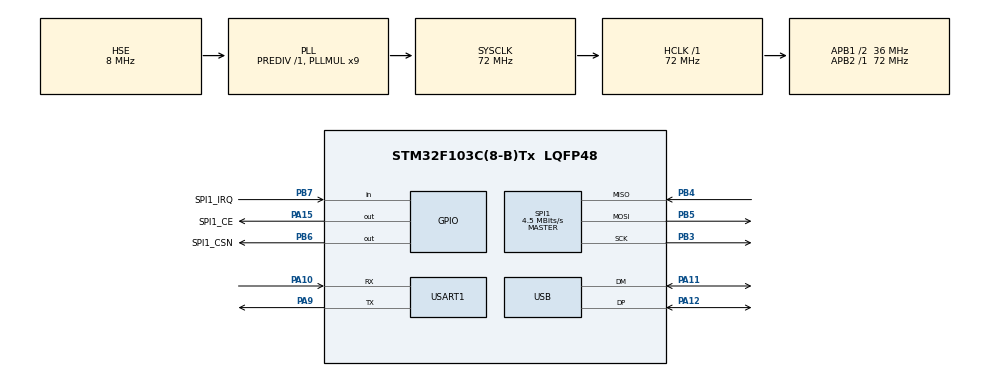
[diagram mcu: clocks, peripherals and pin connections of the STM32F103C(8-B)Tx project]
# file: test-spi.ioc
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Mcu.Family=STM32F1
Mcu.Name=STM32F103C(8-B)Tx
Mcu.Package=LQFP48
NVIC.PriorityGroup=NVIC_PRIORITYGROUP_4
NVIC.USB_LP_CAN1_RX0_IRQn=true\:0\:0\:false\:false\:true\:false\:true
PA10.Mode=Asynchronous
PA10.Signal=USART1_RX
PA11.Mode=Device
PA11.Signal=USB_DM
PA12.Mode=Device
PA12.Signal=USB_DP
PA13.Mode=Serial_Wire
PA13.Signal=SYS_JTMS-SWDIO
PA14.Mode=Serial_Wire
PA14.Signal=SYS_JTCK-SWCLK
PA15.GPIO_Label=SPI1_CE
PA15.GPIO_PuPd=GPIO_PULLUP
PA15.GPIO_Speed=GPIO_SPEED_FREQ_HIGH
PA15.Signal=GPIO_Output
PA9.Mode=Asynchronous
PA9.Signal=USART1_TX
PB3.Mode=Full_Duplex_Master
PB3.Signal=SPI1_SCK
PB4.Mode=Full_Duplex_Master
PB4.Signal=SPI1_MISO
PB5.Mode=Full_Duplex_Master
PB5.Signal=SPI1_MOSI
PB6.GPIO_Label=SPI1_CSN
PB6.GPIO_PuPd=GPIO_PULLUP
PB6.GPIO_Speed=GPIO_SPEED_FREQ_HIGH
PB6.Signal=GPIO_Output
PB7.GPIO_Label=SPI1_IRQ
PB7.GPIO_PuPd=GPIO_PULLUP
PB7.Signal=GPIO_Input
PD0-OSC_IN.Mode=HSE-External-Oscillator
PD0-OSC_IN.Signal=RCC_OSC_IN
PD1-OSC_OUT.Mode=HSE-External-Oscillator
PD1-OSC_OUT.Signal=RCC_OSC_OUT
ProjectManager.HeapSize=0x400
ProjectManager.StackSize=0x400
ProjectManager.TargetToolchain=MDK-ARM V5.27
RCC.ADCPresc=RCC_ADCPCLK2_DIV6
RCC.AHBFreq_Value=72000000
RCC.APB1CLKDivider=RCC_HCLK_DIV2
RCC.APB1Freq_Value=36000000
RCC.APB1TimFreq_Value=72000000
RCC.APB2Freq_Value=72000000
RCC.APB2TimFreq_Value=72000000
RCC.HCLKFreq_Value=72000000
RCC.PLLMUL=RCC_PLL_MUL9
RCC.PLLSourceVirtual=RCC_PLLSOURCE_HSE
RCC.SYSCLKFreq_VALUE=72000000
RCC.SYSCLKSource=RCC_SYSCLKSOURCE_PLLCLK
RCC.USBFreq_Value=48000000
RCC.USBPrescaler=RCC_USBCLKSOURCE_PLL_DIV1_5
SPI1.BaudRatePrescaler=SPI_BAUDRATEPRESCALER_16
SPI1.CRCCalculation=SPI_CRCCALCULATION_DISABLE
SPI1.CalculateBaudRate=4.5 MBits/s
SPI1.Direction=SPI_DIRECTION_2LINES
SPI1.Mode=SPI_MODE_MASTER
SPI1.VirtualType=VM_MASTER
USART1.VirtualMode=VM_ASYNC
USB_DEVICE.CLASS_NAME_FS=CDC
USB_DEVICE.VirtualMode=Cdc
USB_DEVICE.VirtualModeFS=Cdc_FS
VP_USB_DEVICE_VS_USB_DEVICE_CDC_FS.Mode=CDC_FS
board=custom

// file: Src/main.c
/* USER CODE BEGIN Header */
/**
  ******************************************************************************
  * @file           : main.c
  * @brief          : Main program body
  ******************************************************************************
  * @attention
  *
  * <h2><center>&copy; Copyright (c) 2020 STMicroelectronics.
  * All rights reserved.</center></h2>
  *
  * This software component is licensed by ST under BSD 3-Clause license,
  * the "License"; You may not use this file except in compliance with the
  * License. You may obtain a copy of the License at:
  *                        opensource.org/licenses/BSD-3-Clause
  *
  ******************************************************************************
  */
/* USER CODE END Header */
#include "main.h"
#include "spi.h"
#include "usart.h"
#include "usb_device.h"
#include "gpio.h"

/* USER CODE BEGIN Includes */
//用户头文件
#include "sys.h"
#include "delay.h"
#include "24l01.h"
#include "stdio.h"
#include "usbd_cdc_if.h"
/* USER CODE END Includes */

/* USER CODE BEGIN PTD */
//私有类型定义

/* USER CODE END PTD */

/* USER CODE BEGIN PD */
//私有定义

#define a ox1;
/* USER CODE END PD */

/* USER CODE BEGIN PM */
//私有宏

/* USER CODE END PM */

/* USER CODE BEGIN PV */
//私有变量
u8 tmp_buf[30]= {0x01,0x02,0x03,0x04,0x05,0x06,0x07,0x08,0x09,0x10,0x11,0x12,0x13,0x14,0x15,0x16,0x17,0x18,0x19,0x20,0x21,0x22,0x23,0x24,0x25,0x26,0x27,0x28,0x29,0x30};
u8 rv_data[32];
u8 mode=1;//发送模式还是接收模式选择 0发送模式 1接收模式
u8 status_tx=0;
u8 status_rx=0;
/* USER CODE END PV */

void SystemClock_Config(void);
/* USER CODE BEGIN PFP */
//私有函数原型

/* USER CODE END PFP */

int main(void)
{

  /* MCU Configuration--------------------------------------------------------*/

  /* Reset of all peripherals, Initializes the Flash interface and the Systick. */
  HAL_Init();

  /* Configure the system clock */
  SystemClock_Config();

  /* USER CODE BEGIN SysInit */
    USB_ReEnum(); // Toggle the level of GpIO_A_12 to avoid extract-plug action
    uint8_t temp[1]= {0x11};
    HAL_UART_Transmit(&huart1,temp,1,2);
  /* USER CODE END SysInit */

  /* Initialize all configured peripherals */
  MX_GPIO_Init();
  MX_SPI1_Init();
  MX_USART1_UART_Init();
  MX_USB_DEVICE_Init();
  /* USER CODE BEGIN 2 */
    NRF24L01_Init();  //初始化NRF24L01
    while(NRF24L01_Check())//函数返回值为1说明检测24L01错误
    {
        printf("\n\r nrf测试失败 nrf未连接\n\r");
			break;
    }

    while(NRF24L01_Check()==0)//之前是while
    {
        //printf("\n\r nrf测试成功 nrf连接\n\r");
        //Rx接收模式
        if(mode==1)
        {
            int k=0;
            int Rec_Length=0;
            //printf("\n\r 接收模式\n\r");
            NRF24L01_RX_Mode();
			SPI1_SetSpeed(SPI_BAUDRATEPRESCALER_16);//该语句在例程中是在RxPacket函数中，每次循环都需要执行一次。现放在这里。只初始化，不循环
            while(1)
            {
							//接收数组是UserTxBufferFS，这里使用的是指针；*UserTxBufferFS指的是数组的首地址
							//接收函数的返回值：0——接收完成；其他-存在错误；
                status_rx  = NRF24L01_RxPacket((uint8_t *)(UserTxBufferFS)+Rec_Length);

//				status_rx  = NRF24L01_RxPacket(rv_data);//一次传输32个字节。接收的数据保存在rv_data数组中。返回值0为接收成功
//				HAL_Delay (1);

				/*if(status_rx==0)
				{
					Rec_Length+=20;
					if(Rec_Length>=18)//UserTxBufferFS数组是1000个元素
					{
						CDC_Transmit_FS(UserTxBufferFS, 20);//虚拟usb发送数据
						Rec_Length=0;
					}
					k++;
					CDC_Transmit_FS(&k, sizeof(k));//将输出值改为UserTxBufferFS数组里的数据
				}*/

				/*if(status_rx==0)
                {
                    Rec_Length+=20;
                    if(Rec_Length>=18)//UserTxBufferFS数组是1000个元素
                    {
						CDC_Transmit_FS(UserTxBufferFS,20);//虚拟usb发送数据
                        Rec_Length=0;
                    }
                    k++;
                    printf("%dE",UserTxBufferFS[0]);
                }*/

				if(status_rx==0)
				{
					Rec_Length+=20;
					if(Rec_Length>=18)//UserTxBufferFS数组是1000个元素
					{
						CDC_Transmit_FS(UserTxBufferFS,20);//虚拟usb发送数据
						Rec_Length=0;
					}
					k++;
					for (int i = 1; i < 19; i++) {
						printf("%c", UserTxBufferFS[i]); // 将输出值改为UserTxBufferFS数组里的前八个元素

					}
					printf("E");
				}
            }

//				break;
        }
        //tx发送模式
        if(mode ==0)
        {
            printf("\n\r 发送模式\n\r");
            for(int i=0; i<101; i++)
            {
                //tx发送模式
                NRF24L01_TX_Mode();
                HAL_Delay(2);
                status_tx=NRF24L01_TxPacket(tmp_buf);//函数返回值为发送完成状态
                printf("发送状态为%d,%d",status_tx,i+1);//输出发送状态
            }
        }
//		break ;
    }
  /* USER CODE END 2 */

  /* Infinite loop */
  /* USER CODE BEGIN WHILE */
    while (1)
    {
//		HAL_Delay(300);
//		CDC_Transmit_FS(UserTxBufferFS,10);

    /* USER CODE END WHILE */

    }
}

void SystemClock_Config(void)
{
  RCC_OscInitTypeDef RCC_OscInitStruct = {0};
  RCC_ClkInitTypeDef RCC_ClkInitStruct = {0};
  RCC_PeriphCLKInitTypeDef PeriphClkInit = {0};

  /** Initializes the RCC Oscillators according to the specified parameters
  * in the RCC_OscInitTypeDef structure.
  */
  RCC_OscInitStruct.OscillatorType = RCC_OSCILLATORTYPE_HSE;
  RCC_OscInitStruct.HSEState = RCC_HSE_ON;
  RCC_OscInitStruct.HSEPredivValue = RCC_HSE_PREDIV_DIV1;
  RCC_OscInitStruct.HSIState = RCC_HSI_ON;
  RCC_OscInitStruct.PLL.PLLState = RCC_PLL_ON;
  RCC_OscInitStruct.PLL.PLLSource = RCC_PLLSOURCE_HSE;
  RCC_OscInitStruct.PLL.PLLMUL = RCC_PLL_MUL9;
  if (HAL_RCC_OscConfig(&RCC_OscInitStruct) != HAL_OK)
  {
    Error_Handler();
  }
  /** Initializes the CPU, AHB and APB buses clocks
  */
  RCC_ClkInitStruct.ClockType = RCC_CLOCKTYPE_HCLK|RCC_CLOCKTYPE_SYSCLK
                              |RCC_CLOCKTYPE_PCLK1|RCC_CLOCKTYPE_PCLK2;
  RCC_ClkInitStruct.SYSCLKSource = RCC_SYSCLKSOURCE_PLLCLK;
  RCC_ClkInitStruct.AHBCLKDivider = RCC_SYSCLK_DIV1;
  RCC_ClkInitStruct.APB1CLKDivider = RCC_HCLK_DIV2;
  RCC_ClkInitStruct.APB2CLKDivider = RCC_HCLK_DIV1;

  if (HAL_RCC_ClockConfig(&RCC_ClkInitStruct, FLASH_LATENCY_2) != HAL_OK)
  {
    Error_Handler();
  }
  PeriphClkInit.PeriphClockSelection = RCC_PERIPHCLK_USB;
  PeriphClkInit.UsbClockSelection = RCC_USBCLKSOURCE_PLL_DIV1_5;
  if (HAL_RCCEx_PeriphCLKConfig(&PeriphClkInit) != HAL_OK)
  {
    Error_Handler();
  }
}

void Error_Handler(void)
{
}

/************************ (C) COPYRIGHT STMicroelectronics *****END OF FILE****/
